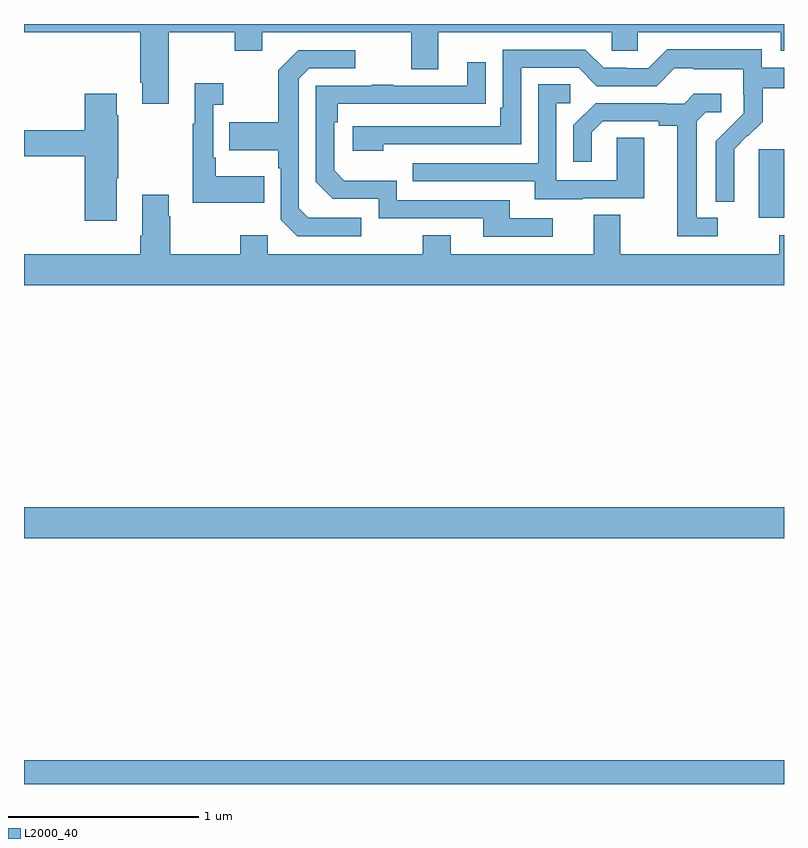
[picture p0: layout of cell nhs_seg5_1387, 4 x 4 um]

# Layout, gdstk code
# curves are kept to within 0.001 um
import gdstk
lib = gdstk.Library(unit=1e-6, precision=1e-09)
def R(c, l, rs):  # rectangles x0, y0, x1, y1
    for r in rs: c.add(gdstk.rectangle(r[:2], r[2:], *l))
def P(c, l, *ps):  # polygons
    for p in ps: c.add(gdstk.Polygon(p, *l))
L2000_40 = (2000, 40)

nhs_seg5_1387 = lib.new_cell('nhs_seg5_1387')
R(nhs_seg5_1387, L2000_40, [(195,856.799,199,856.924), (195,858.092,199,858.256), (198.866,859.778,199,860.139)])
P(nhs_seg5_1387, L2000_40, [(195.763,860.756),(196.108,860.756),(196.108,860.657),(196.255,860.657),(196.255,860.756),(197.039,860.756),(197.039,860.562),(197.179,860.562),(197.179,860.756),(198.093,860.756),(198.093,860.658),(198.231,860.658),(198.231,860.756),(198.983,860.756),(198.983,860.657),(199,860.657),(199,860.799),(195,860.799),(195,860.756),(195.611,860.756),(195.611,860.491),(195.623,860.491),(195.623,860.379),(195.763,860.379)],
  [(198.738,860.018),(198.737,860.141),(198.807,860.211),(198.81,860.208),(198.887,860.285),(198.887,860.46),(199,860.46),(199,860.568),(198.882,860.568),(198.882,860.665),(198.385,860.665),(198.285,860.565),(198.17,860.565),(198.17,860.568),(198.051,860.568),(197.955,860.664),(197.52,860.664),(197.52,860.359),(197.507,860.359),(197.507,860.262),(196.731,860.262),(196.731,860.132),(196.892,860.132),(196.892,860.166),(197.616,860.166),(197.616,860.568),(197.919,860.568),(198.015,860.472),(198.33,860.472),(198.423,860.565),(198.523,860.565),(198.523,860.561),(198.786,860.561),(198.786,860.427),(198.788,860.427),(198.788,860.33),(198.642,860.182),(198.642,859.864),(198.738,859.864)],
  [(196.774,859.779),(196.497,859.779),(196.446,859.83),(196.446,860.511),(196.5,860.565),(196.744,860.565),(196.744,860.661),(196.443,860.661),(196.338,860.555),(196.338,860.283),(196.081,860.283),(196.081,860.135),(196.338,860.135),(196.338,860.039),(196.35,860.039),(196.35,859.77),(196.437,859.683),(196.774,859.683)],
  [(197.782,859.776),(197.557,859.776),(197.557,859.872),(196.962,859.872),(196.962,859.975),(196.685,859.975),(196.632,860.028),(196.632,860.282),(196.652,860.282),(196.652,860.379),(197.429,860.38),(197.429,860.599),(197.333,860.599),(197.333,860.475),(196.943,860.475),(196.943,860.48),(196.831,860.48),(196.831,860.475),(196.536,860.475),(196.536,859.968),(196.626,859.878),(196.866,859.878),(196.866,859.776),(197.417,859.776),(197.417,859.68),(197.782,859.68)],
  [(196.265,859.999),(196.009,859.999),(196.009,860.095),(195.996,860.095),(195.996,860.375),(196.048,860.375),(196.048,860.488),(195.899,860.488),(195.899,860.275),(195.888,860.275),(195.888,859.859),(196.265,859.859)],
  [(197.941,859.881),(198.265,859.881),(198.265,860.201),(198.12,860.201),(198.12,859.977),(197.802,859.977),(197.802,860.382),(197.875,860.382),(197.875,860.483),(197.706,860.483),(197.706,860.067),(197.047,860.067),(197.047,859.971),(197.687,859.971),(197.687,859.877),(197.941,859.877)],
  [(195.487,859.987),(195.495,859.987),(195.495,860.318),(195.487,860.318),(195.487,860.431),(195.32,860.431),(195.32,860.24),(195,860.24),(195,860.104),(195.32,860.104),(195.32,859.764),(195.487,859.764)],
  [(198.652,859.779),(198.541,859.779),(198.541,860.287),(198.588,860.334),(198.67,860.334),(198.67,860.431),(198.526,860.431),(198.474,860.379),(198.38,860.379),(198.38,860.382),(198.008,860.382),(197.892,860.266),(197.892,860.073),(197.989,860.073),(197.989,860.229),(198.046,860.286),(198.341,860.286),(198.341,860.264),(198.437,860.264),(198.437,859.683),(198.652,859.683)],
  [(199,859.687),(198.976,859.687),(198.976,859.588),(198.139,859.588),(198.139,859.796),(197.999,859.796),(197.999,859.588),(197.245,859.588),(197.245,859.687),(197.098,859.687),(197.098,859.588),(196.284,859.588),(196.284,859.687),(196.138,859.687),(196.138,859.588),(195.771,859.588),(195.771,859.787),(195.763,859.787),(195.763,859.9),(195.623,859.9),(195.623,859.684),(195.611,859.684),(195.611,859.588),(195,859.588),(195,859.424),(199,859.424)])

lib.write_gds('nhs_seg5_1387.gds')
